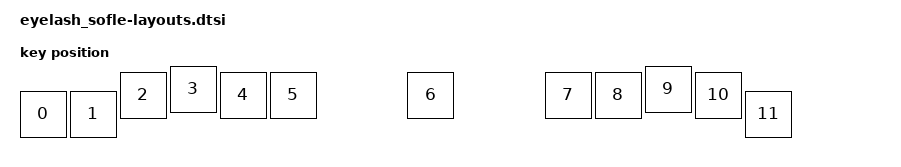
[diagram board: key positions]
#include <physical_layouts.dtsi>

/ {
    eyelash_sofle_layout: eyelash_sofle_layout {
        compatible = "zmk,physical-layout";
        display-name = "Layout";
        transform = <&default_transform>;
        keys  //                     w   h    x    y     rot    rx    ry
            = <&key_physical_attrs 100 100    0   50       0     0     0>
            , <&key_physical_attrs 100 100  100   50       0     0     0>
            , <&key_physical_attrs 100 100  200   12       0     0     0>
            , <&key_physical_attrs 100 100  300    0       0     0     0>
            , <&key_physical_attrs 100 100  400   12       0     0     0>
            , <&key_physical_attrs 100 100  500   12       0     0     0>
            , <&key_physical_attrs 100 100  775   12       0     0     0>
            , <&key_physical_attrs 100 100 1050   12       0     0     0>
            , <&key_physical_attrs 100 100 1150   12       0     0     0>
            , <&key_physical_attrs 100 100 1250    0       0     0     0>
            , <&key_physical_attrs 100 100 1350   12       0     0     0>
            , <&key_physical_attrs 100 100 1450   50       0     0     0>
            ;
    };
};
